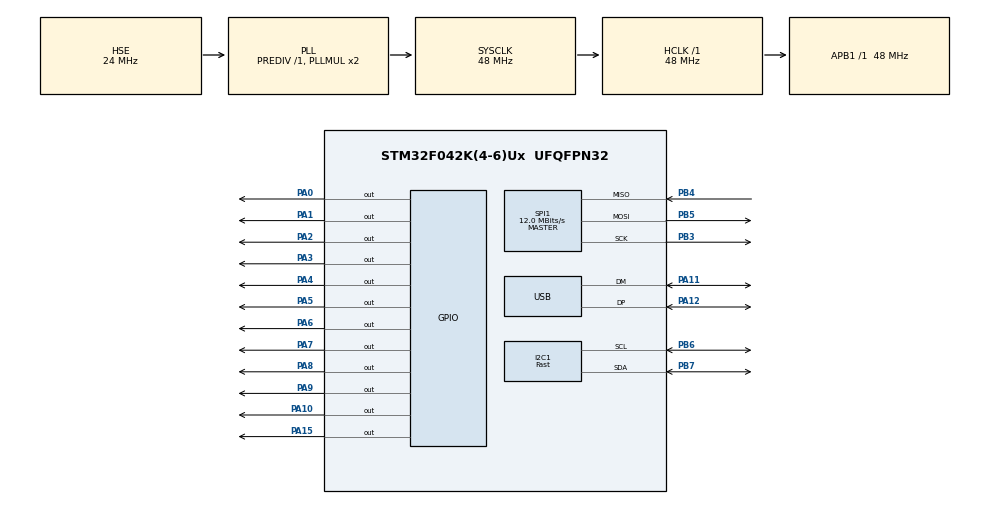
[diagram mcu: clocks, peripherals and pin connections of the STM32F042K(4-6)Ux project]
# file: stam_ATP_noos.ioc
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I2C1.I2C_Speed_Mode=I2C_Fast
I2C1.Timing=0x0000020B
Mcu.Family=STM32F0
Mcu.Name=STM32F042K(4-6)Ux
Mcu.Package=UFQFPN32
PA0.Signal=GPIO_Output
PA1.Signal=GPIO_Output
PA10.Signal=GPIO_Output
PA11.Mode=Device
PA11.Signal=USB_DM
PA12.Mode=Device
PA12.Signal=USB_DP
PA13.Mode=Serial_Wire
PA13.Signal=SYS_SWDIO
PA14.Mode=Serial_Wire
PA14.Signal=SYS_SWCLK
PA15.Signal=GPIO_Output
PA2.Signal=GPIO_Output
PA3.Signal=GPIO_Output
PA4.Signal=GPIO_Output
PA5.Signal=GPIO_Output
PA6.Signal=GPIO_Output
PA7.Signal=GPIO_Output
PA8.Signal=GPIO_Output
PA9.Signal=GPIO_Output
PB3.Mode=Full_Duplex_Master
PB3.Signal=SPI1_SCK
PB4.Mode=Full_Duplex_Master
PB4.Signal=SPI1_MISO
PB5.Mode=Full_Duplex_Master
PB5.Signal=SPI1_MOSI
PB6.Mode=I2C
PB6.Signal=I2C1_SCL
PB7.Mode=I2C
PB7.Signal=I2C1_SDA
PF0-OSC_IN.Mode=HSE-External-Oscillator
PF0-OSC_IN.Signal=RCC_OSC_IN
PF1-OSC_OUT.Mode=HSE-External-Oscillator
PF1-OSC_OUT.Signal=RCC_OSC_OUT
ProjectManager.HeapSize=0x200
ProjectManager.StackSize=0x400
ProjectManager.TargetToolchain=TrueSTUDIO
RCC.AHBFreq_Value=48000000
RCC.APB1Freq_Value=48000000
RCC.APB1TimFreq_Value=48000000
RCC.HCLKFreq_Value=48000000
RCC.HSE_VALUE=24000000
RCC.PLLSourceVirtual=RCC_PLLSOURCE_HSE
RCC.SYSCLKFreq_VALUE=48000000
RCC.SYSCLKSource=RCC_SYSCLKSOURCE_PLLCLK
RCC.USBFreq_Value=48000000
SPI1.BaudRatePrescaler=SPI_BAUDRATEPRESCALER_4
SPI1.CalculateBaudRate=12.0 MBits/s
SPI1.DataSize=SPI_DATASIZE_8BIT
SPI1.Direction=SPI_DIRECTION_2LINES
SPI1.Mode=SPI_MODE_MASTER
SPI1.NSSPMode=SPI_NSS_PULSE_ENABLE
SPI1.VirtualType=VM_MASTER
board=custom

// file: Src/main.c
/* USER CODE BEGIN Header */
/**
  ******************************************************************************
  * @file           : main.c
  * @brief          : Main program body
  ******************************************************************************
  ** This notice applies to any and all portions of this file
  * that are not between comment pairs USER CODE BEGIN and
  * USER CODE END. Other portions of this file, whether
  * inserted by the user or by software development tools
  * are owned by their respective copyright owners.
  *
  * COPYRIGHT(c) 2019 STMicroelectronics
  *
  * Redistribution and use in source and binary forms, with or without modification,
  * are permitted provided that the following conditions are met:
  *   1. Redistributions of source code must retain the above copyright notice,
  *      this list of conditions and the following disclaimer.
  *   2. Redistributions in binary form must reproduce the above copyright notice,
  *      this list of conditions and the following disclaimer in the documentation
  *      and/or other materials provided with the distribution.
  *   3. Neither the name of STMicroelectronics nor the names of its contributors
  *      may be used to endorse or promote products derived from this software
  *      without specific prior written permission.
  *
  * THIS SOFTWARE IS PROVIDED BY THE COPYRIGHT HOLDERS AND CONTRIBUTORS "AS IS"
  * AND ANY EXPRESS OR IMPLIED WARRANTIES, INCLUDING, BUT NOT LIMITED TO, THE
  * IMPLIED WARRANTIES OF MERCHANTABILITY AND FITNESS FOR A PARTICULAR PURPOSE ARE
  * DISCLAIMED. IN NO EVENT SHALL THE COPYRIGHT HOLDER OR CONTRIBUTORS BE LIABLE
  * FOR ANY DIRECT, INDIRECT, INCIDENTAL, SPECIAL, EXEMPLARY, OR CONSEQUENTIAL
  * DAMAGES (INCLUDING, BUT NOT LIMITED TO, PROCUREMENT OF SUBSTITUTE GOODS OR
  * SERVICES; LOSS OF USE, DATA, OR PROFITS; OR BUSINESS INTERRUPTION) HOWEVER
  * CAUSED AND ON ANY THEORY OF LIABILITY, WHETHER IN CONTRACT, STRICT LIABILITY,
  * OR TORT (INCLUDING NEGLIGENCE OR OTHERWISE) ARISING IN ANY WAY OUT OF THE USE
  * OF THIS SOFTWARE, EVEN IF ADVISED OF THE POSSIBILITY OF SUCH DAMAGE.
  *
  ******************************************************************************
  */
/* USER CODE END Header */

#include "main.h"

/* USER CODE BEGIN Includes */
#include "usb.h"
#include "../st7735/st7735.h"
#include "../st7735/fonts.h"
/* USER CODE END Includes */

/* USER CODE BEGIN PM */
#define USB_PRINT(x) usb_tx_post(x,sizeof(x))

/* USER CODE END PM */

I2C_HandleTypeDef hi2c1;

SPI_HandleTypeDef hspi1;

PCD_HandleTypeDef hpcd_USB_FS;

/* USER CODE BEGIN PV */
extern usbd_device* udev;
/* USER CODE END PV */

void SystemClock_Config(void);
static void MX_GPIO_Init(void);
static void MX_I2C1_Init(void);
static void MX_USB_PCD_Init(void);
static void MX_SPI1_Init(void);

int main(void)
{
  /* USER CODE BEGIN 1 */
uint8_t nI2cBuf[2];
uint8_t TempStr[16];
  /* USER CODE END 1 */

  /* MCU Configuration--------------------------------------------------------*/

  /* Reset of all peripherals, Initializes the Flash interface and the Systick. */
  HAL_Init();

  /* Configure the system clock */
  SystemClock_Config();

  /* Initialize all configured peripherals */
  MX_GPIO_Init();
  MX_I2C1_Init();
  MX_USB_PCD_Init();
  MX_SPI1_Init();
  /* USER CODE BEGIN 2 */

	 //spi_init();

    cdc_init_usbd();
    usbd_enable(&udev, true);
    usbd_connect(&udev, true);

    HAL_NVIC_EnableIRQ(USB_IRQn);

    USB_PRINT("about to init lcd.\n\r");
    HAL_Delay(3000);
    ST7735_Init();
    USB_PRINT("done.\n\r");

    ST7735_FillScreen(0x0);
    ST7735_WriteString(60,60,"testing",Font_7x10,0xffff,0x0);
  /* USER CODE END 2 */

  /* Infinite loop */
  while (1)
  {

    /* USER CODE BEGIN 3 */
	  	HAL_I2C_Master_Receive(&hi2c1,0x9e,nI2cBuf,2,1000);

	  	sprintf(TempStr,"Temp:%d", (nI2cBuf[1]));
	    ST7735_WriteString(40,40,TempStr,Font_7x10,0xffff,0x0);

	    USB_PRINT(TempStr);
	    HAL_GPIO_TogglePin(GPIOA,GPIO_PIN_4);
	    HAL_Delay(200);
  }
  /* USER CODE END 3 */
}

void SystemClock_Config(void)
{
  RCC_OscInitTypeDef RCC_OscInitStruct = {0};
  RCC_ClkInitTypeDef RCC_ClkInitStruct = {0};
  RCC_PeriphCLKInitTypeDef PeriphClkInit = {0};

  /**Initializes the CPU, AHB and APB busses clocks
  */
  RCC_OscInitStruct.OscillatorType = RCC_OSCILLATORTYPE_HSI|RCC_OSCILLATORTYPE_HSI48
                              |RCC_OSCILLATORTYPE_HSE;
  RCC_OscInitStruct.HSEState = RCC_HSE_ON;
  RCC_OscInitStruct.HSIState = RCC_HSI_ON;
  RCC_OscInitStruct.HSI48State = RCC_HSI48_ON;
  RCC_OscInitStruct.HSICalibrationValue = RCC_HSICALIBRATION_DEFAULT;
  RCC_OscInitStruct.PLL.PLLState = RCC_PLL_ON;
  RCC_OscInitStruct.PLL.PLLSource = RCC_PLLSOURCE_HSE;
  RCC_OscInitStruct.PLL.PLLMUL = RCC_PLL_MUL2;
  RCC_OscInitStruct.PLL.PREDIV = RCC_PREDIV_DIV1;
  if (HAL_RCC_OscConfig(&RCC_OscInitStruct) != HAL_OK)
  {
    Error_Handler();
  }
  /**Initializes the CPU, AHB and APB busses clocks
  */
  RCC_ClkInitStruct.ClockType = RCC_CLOCKTYPE_HCLK|RCC_CLOCKTYPE_SYSCLK
                              |RCC_CLOCKTYPE_PCLK1;
  RCC_ClkInitStruct.SYSCLKSource = RCC_SYSCLKSOURCE_PLLCLK;
  RCC_ClkInitStruct.AHBCLKDivider = RCC_SYSCLK_DIV1;
  RCC_ClkInitStruct.APB1CLKDivider = RCC_HCLK_DIV1;

  if (HAL_RCC_ClockConfig(&RCC_ClkInitStruct, FLASH_LATENCY_1) != HAL_OK)
  {
    Error_Handler();
  }
  PeriphClkInit.PeriphClockSelection = RCC_PERIPHCLK_USB|RCC_PERIPHCLK_I2C1;
  PeriphClkInit.I2c1ClockSelection = RCC_I2C1CLKSOURCE_HSI;
  PeriphClkInit.UsbClockSelection = RCC_USBCLKSOURCE_HSI48;

  if (HAL_RCCEx_PeriphCLKConfig(&PeriphClkInit) != HAL_OK)
  {
    Error_Handler();
  }
}

static void MX_I2C1_Init(void)
{

  hi2c1.Instance = I2C1;
  hi2c1.Init.Timing = 0x0000020B;
  hi2c1.Init.OwnAddress1 = 0;
  hi2c1.Init.AddressingMode = I2C_ADDRESSINGMODE_7BIT;
  hi2c1.Init.DualAddressMode = I2C_DUALADDRESS_DISABLE;
  hi2c1.Init.OwnAddress2 = 0;
  hi2c1.Init.OwnAddress2Masks = I2C_OA2_NOMASK;
  hi2c1.Init.GeneralCallMode = I2C_GENERALCALL_DISABLE;
  hi2c1.Init.NoStretchMode = I2C_NOSTRETCH_DISABLE;
  if (HAL_I2C_Init(&hi2c1) != HAL_OK)
  {
    Error_Handler();
  }
  /**Configure Analogue filter
  */
  if (HAL_I2CEx_ConfigAnalogFilter(&hi2c1, I2C_ANALOGFILTER_ENABLE) != HAL_OK)
  {
    Error_Handler();
  }
  /**Configure Digital filter
  */
  if (HAL_I2CEx_ConfigDigitalFilter(&hi2c1, 0) != HAL_OK)
  {
    Error_Handler();
  }

}

static void MX_SPI1_Init(void)
{

  /* SPI1 parameter configuration*/
  hspi1.Instance = SPI1;
  hspi1.Init.Mode = SPI_MODE_MASTER;
  hspi1.Init.Direction = SPI_DIRECTION_2LINES;
  hspi1.Init.DataSize = SPI_DATASIZE_8BIT;
  hspi1.Init.CLKPolarity = SPI_POLARITY_LOW;
  hspi1.Init.CLKPhase = SPI_PHASE_1EDGE;
  hspi1.Init.NSS = SPI_NSS_SOFT;
  hspi1.Init.BaudRatePrescaler = SPI_BAUDRATEPRESCALER_4;
  hspi1.Init.FirstBit = SPI_FIRSTBIT_MSB;
  hspi1.Init.TIMode = SPI_TIMODE_DISABLE;
  hspi1.Init.CRCCalculation = SPI_CRCCALCULATION_DISABLE;
  hspi1.Init.CRCPolynomial = 7;
  hspi1.Init.CRCLength = SPI_CRC_LENGTH_DATASIZE;
  hspi1.Init.NSSPMode = SPI_NSS_PULSE_ENABLE;
  if (HAL_SPI_Init(&hspi1) != HAL_OK)
  {
    Error_Handler();
  }
  /* USER CODE BEGIN SPI1_Init 2 */
  __HAL_SPI_ENABLE(&hspi1);
  /* USER CODE END SPI1_Init 2 */

}

static void MX_USB_PCD_Init(void)
{

  hpcd_USB_FS.Instance = USB;
  hpcd_USB_FS.Init.dev_endpoints = 8;
  hpcd_USB_FS.Init.speed = PCD_SPEED_FULL;
  hpcd_USB_FS.Init.ep0_mps = DEP0CTL_MPS_64;
  hpcd_USB_FS.Init.phy_itface = PCD_PHY_EMBEDDED;
  hpcd_USB_FS.Init.low_power_enable = DISABLE;
  hpcd_USB_FS.Init.lpm_enable = DISABLE;
  hpcd_USB_FS.Init.battery_charging_enable = DISABLE;
  if (HAL_PCD_Init(&hpcd_USB_FS) != HAL_OK)
  {
    Error_Handler();
  }

}

static void MX_GPIO_Init(void)
{
  GPIO_InitTypeDef GPIO_InitStruct = {0};

  /* GPIO Ports Clock Enable */
  __HAL_RCC_GPIOF_CLK_ENABLE();
  __HAL_RCC_GPIOA_CLK_ENABLE();
  __HAL_RCC_GPIOB_CLK_ENABLE();

  /*Configure GPIO pin Output Level */
  HAL_GPIO_WritePin(GPIOA, GPIO_PIN_0|GPIO_PIN_1|GPIO_PIN_2|GPIO_PIN_3
                          |GPIO_PIN_4|GPIO_PIN_5|GPIO_PIN_6|GPIO_PIN_7
                          |GPIO_PIN_8|GPIO_PIN_9|GPIO_PIN_10|GPIO_PIN_15, GPIO_PIN_RESET);

  /*Configure GPIO pins : PA0 PA1 PA2 PA3
                           PA4 PA5 PA6 PA7
                           PA8 PA9 PA10 PA15 */
  GPIO_InitStruct.Pin = GPIO_PIN_0|GPIO_PIN_1|GPIO_PIN_2|GPIO_PIN_3
                          |GPIO_PIN_4|GPIO_PIN_5|GPIO_PIN_6|GPIO_PIN_7
                          |GPIO_PIN_8|GPIO_PIN_9|GPIO_PIN_10|GPIO_PIN_15;
  GPIO_InitStruct.Mode = GPIO_MODE_OUTPUT_PP;
  GPIO_InitStruct.Pull = GPIO_NOPULL;
  GPIO_InitStruct.Speed = GPIO_SPEED_FREQ_LOW;
  HAL_GPIO_Init(GPIOA, &GPIO_InitStruct);

}

void Error_Handler(void)
{
}

/************************ (C) COPYRIGHT STMicroelectronics *****END OF FILE****/
